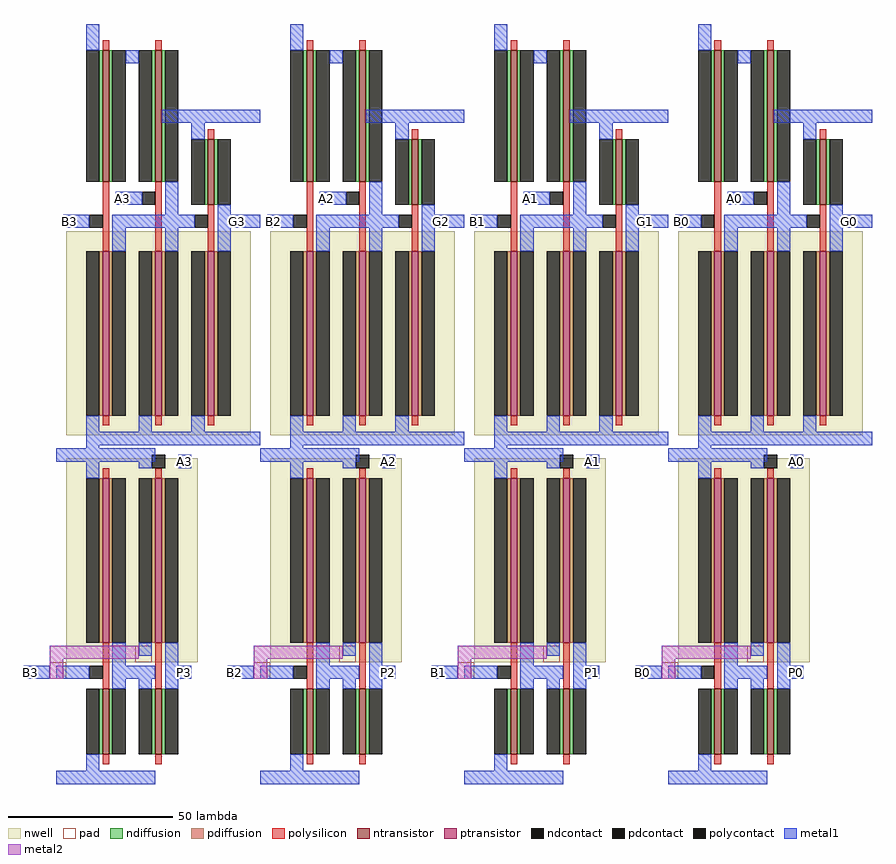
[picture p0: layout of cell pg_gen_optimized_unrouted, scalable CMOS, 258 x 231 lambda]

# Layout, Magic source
magic
tech scmos
<< metal1 >>
rect 24 175 28 179
rect 86 175 90 179
rect 148 175 152 179
rect 210 175 214 179
rect 8 168 12 172
rect 43 168 44 172
rect 59 168 63 172
rect 70 168 74 172
rect 105 168 106 172
rect 121 168 125 172
rect 132 168 136 172
rect 167 168 168 172
rect 183 168 187 172
rect 194 168 198 172
rect 229 168 230 172
rect 245 168 249 172
rect 35 102 47 106
rect 97 102 109 106
rect 159 102 171 106
rect 221 102 233 106
rect 15 101 19 102
rect 77 101 81 102
rect 139 101 143 102
rect 201 101 205 102
rect 43 95 47 99
rect 105 95 109 99
rect 167 95 171 99
rect 229 95 233 99
rect -4 31 0 35
rect 43 31 47 35
rect 58 31 62 35
rect 105 31 109 35
rect 120 31 124 35
rect 167 31 171 35
rect 182 31 186 35
rect 229 31 233 35
use xor_optimized  xor_optimized_0 ../../../xor/optimized/post_layout
transform 1 0 5 0 1 -1
box -5 0 44 102
use nand_cmos  nand_cmos_0 ../../../nand/cmos/post_layout
transform 1 0 15 0 -1 161
box -6 -69 34 59
use inv_cmos  inv_cmos_0 ../../../inv/cmos/post_layout
transform 1 0 41 0 -1 167
box 0 -37 24 65
use nand_cmos  nand_cmos_1
transform 1 0 77 0 -1 161
box -6 -69 34 59
use xor_optimized  xor_optimized_1
transform 1 0 67 0 1 -1
box -5 0 44 102
use nand_cmos  nand_cmos_2
transform 1 0 139 0 -1 161
box -6 -69 34 59
use inv_cmos  inv_cmos_1
transform 1 0 103 0 -1 167
box 0 -37 24 65
use xor_optimized  xor_optimized_2
transform 1 0 129 0 1 -1
box -5 0 44 102
use nand_cmos  nand_cmos_3
transform 1 0 201 0 -1 161
box -6 -69 34 59
use inv_cmos  inv_cmos_2
transform 1 0 165 0 -1 167
box 0 -37 24 65
use xor_optimized  xor_optimized_3
transform 1 0 191 0 1 -1
box -5 0 44 102
use inv_cmos  inv_cmos_3
transform 1 0 227 0 -1 167
box 0 -37 24 65
<< labels >>
rlabel metal1 -4 31 0 35 3 B3
rlabel metal1 43 95 47 99 5 A3
rlabel metal1 8 168 12 172 1 B3
rlabel metal1 24 175 28 179 1 A3
rlabel metal1 59 168 63 172 1 G3
rlabel metal1 58 31 62 35 1 B2
rlabel metal1 105 95 109 99 5 A2
rlabel metal1 120 31 124 35 1 B1
rlabel metal1 167 95 171 99 5 A1
rlabel metal1 182 31 186 35 1 B0
rlabel metal1 229 95 233 99 6 A0
rlabel metal1 70 168 74 172 1 B2
rlabel metal1 86 175 90 179 1 A2
rlabel metal1 132 168 136 172 1 B1
rlabel metal1 148 175 152 179 1 A1
rlabel metal1 121 168 125 172 1 G2
rlabel metal1 183 168 187 172 1 G1
rlabel metal1 194 168 198 172 1 B0
rlabel metal1 210 175 214 179 1 A0
rlabel metal1 245 168 249 172 7 G0
rlabel metal1 43 31 47 35 1 P3
rlabel metal1 105 31 109 35 1 P2
rlabel metal1 167 31 171 35 1 P1
rlabel metal1 229 31 233 35 1 P0
<< end >>

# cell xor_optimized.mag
magic
tech scmos
<< nwell >>
rect 26 37 44 99
<< ntransistor >>
rect 31 9 33 29
<< ptransistor >>
rect 31 43 33 93
<< ndiffusion >>
rect 30 9 31 29
rect 33 9 34 29
<< pdiffusion >>
rect 30 43 31 93
rect 33 43 34 93
<< ndcontact >>
rect 26 9 30 29
rect 34 9 38 29
<< pdcontact >>
rect 26 43 30 93
rect 34 43 38 93
<< polysilicon >>
rect 31 93 33 96
rect 31 29 33 43
rect 31 6 33 9
<< polycontact >>
rect 30 96 34 100
<< metal1 >>
rect 26 96 30 100
rect 26 39 30 43
rect -5 32 -1 36
rect 3 32 7 36
rect 22 32 30 36
rect 26 29 30 32
rect 34 29 38 43
<< metal2 >>
rect -1 38 26 42
rect -1 32 3 38
<< pad >>
rect 25 37 30 42
rect -1 32 4 37
use inv_cmos  inv_cmos_0 ../../../inv/cmos/post_layout
transform 1 0 4 0 1 37
box 0 -37 24 65
<< labels >>
rlabel metal1 -5 32 -1 36 3 B
rlabel metal1 26 96 30 100 5 A
rlabel metal1 34 32 38 36 1 Y
<< end >>

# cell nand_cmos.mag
magic
tech scmos
<< nwell >>
rect -6 -6 35 56
<< ntransistor >>
rect 5 -61 7 -21
rect 21 -61 23 -21
<< ptransistor >>
rect 5 0 7 50
rect 21 0 23 50
<< ndiffusion >>
rect 4 -61 5 -21
rect 7 -61 8 -21
rect 20 -61 21 -21
rect 23 -61 24 -21
<< pdiffusion >>
rect 4 0 5 50
rect 7 0 8 50
rect 20 0 21 50
rect 23 0 24 50
<< ndcontact >>
rect 0 -61 4 -21
rect 8 -61 12 -21
rect 16 -61 20 -21
rect 24 -61 28 -21
<< pdcontact >>
rect 0 0 4 50
rect 8 0 12 50
rect 16 0 20 50
rect 24 0 28 50
<< polysilicon >>
rect 5 50 7 53
rect 21 50 23 53
rect 5 -21 7 0
rect 21 -21 23 0
rect 5 -64 7 -61
rect 21 -64 23 -61
<< polycontact >>
rect 1 -11 5 -7
rect 17 -18 21 -14
<< metal1 >>
rect 0 55 20 59
rect 0 50 4 55
rect 16 50 20 55
rect 8 -7 12 0
rect 24 -7 28 0
rect -3 -11 1 -7
rect 8 -11 28 -7
rect 13 -18 17 -14
rect 24 -21 28 -11
rect 12 -61 16 -57
rect 0 -69 4 -61
<< labels >>
rlabel metal1 10 55 14 59 5 vdd
rlabel metal1 -3 -11 1 -7 1 A
rlabel metal1 0 -69 4 -65 1 gnd
rlabel metal1 24 -11 28 -7 1 Y
rlabel metal1 13 -18 17 -14 1 B
<< end >>

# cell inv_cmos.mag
magic
tech scmos
<< nwell >>
rect 0 0 24 62
<< ntransistor >>
rect 11 -28 13 -8
<< ptransistor >>
rect 11 6 13 56
<< ndiffusion >>
rect 10 -28 11 -8
rect 13 -28 14 -8
<< pdiffusion >>
rect 10 6 11 56
rect 13 6 14 56
<< ndcontact >>
rect 6 -28 10 -8
rect 14 -28 18 -8
<< pdcontact >>
rect 6 6 10 56
rect 14 6 18 56
<< polysilicon >>
rect 11 56 13 59
rect 11 -8 13 6
rect 11 -31 13 -28
<< polycontact >>
rect 7 -5 11 -1
<< metal1 >>
rect -3 61 27 65
rect 6 56 10 61
rect 14 -1 18 6
rect -3 -5 7 -1
rect 14 -5 27 -1
rect 14 -8 18 -5
rect 6 -33 10 -28
rect -3 -37 27 -33
<< labels >>
rlabel metal1 10 64 11 65 5 vdd
rlabel metal1 12 -36 13 -35 1 gnd
rlabel metal1 25 -4 26 -3 7 OUT
rlabel metal1 0 -3 1 -2 3 IN
<< end >>
